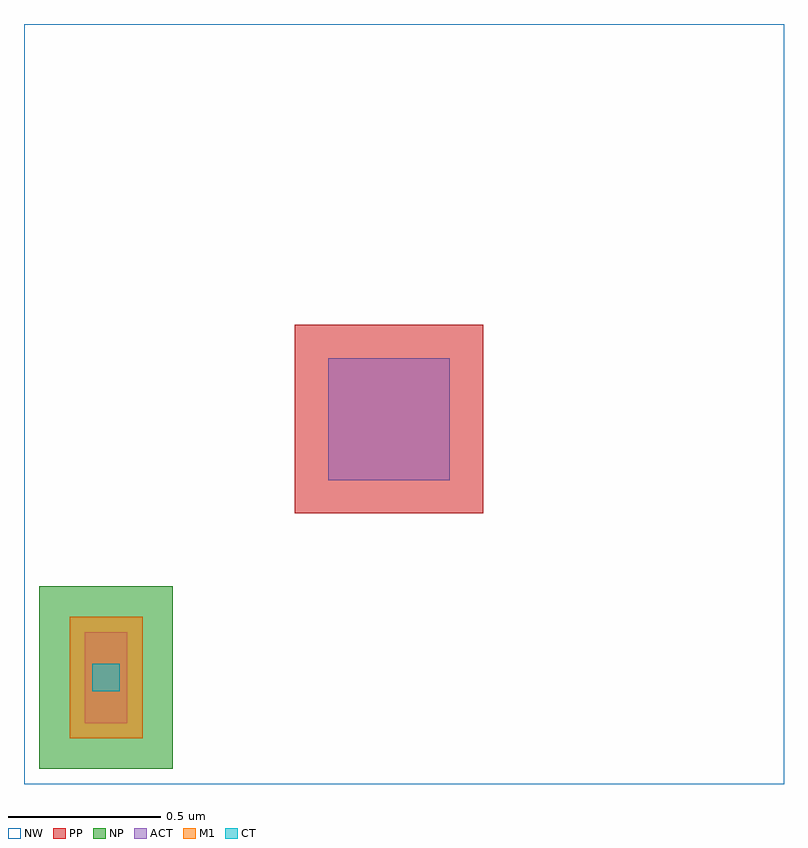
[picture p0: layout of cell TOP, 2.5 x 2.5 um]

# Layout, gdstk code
import gdstk
lib = gdstk.Library(unit=1e-6, precision=1e-09)
def R(c, l, rs):  # rectangles x0, y0, x1, y1
    for r in rs: c.add(gdstk.rectangle(r[:2], r[2:], *l))
ACT = (2, 1)
NW = (9, 1)
NP = (52, 1)
PP = (53, 1)
CT = (72, 1)
M1 = (81, 1)

top = lib.new_cell('TOP')
R(top, ACT, [(0.2,0.2,0.34,0.5), (1,1,1.4,1.4)])
R(top, NW, [(0,0,2.5,2.5)])
R(top, NP, [(0.05,0.05,0.49,0.65)])
R(top, PP, [(0.89,0.89,1.51,1.51)])
R(top, CT, [(0.225,0.305,0.315,0.395)])
R(top, M1, [(0.15,0.15,0.39,0.55)])

lib.write_gds('TOP.gds')
